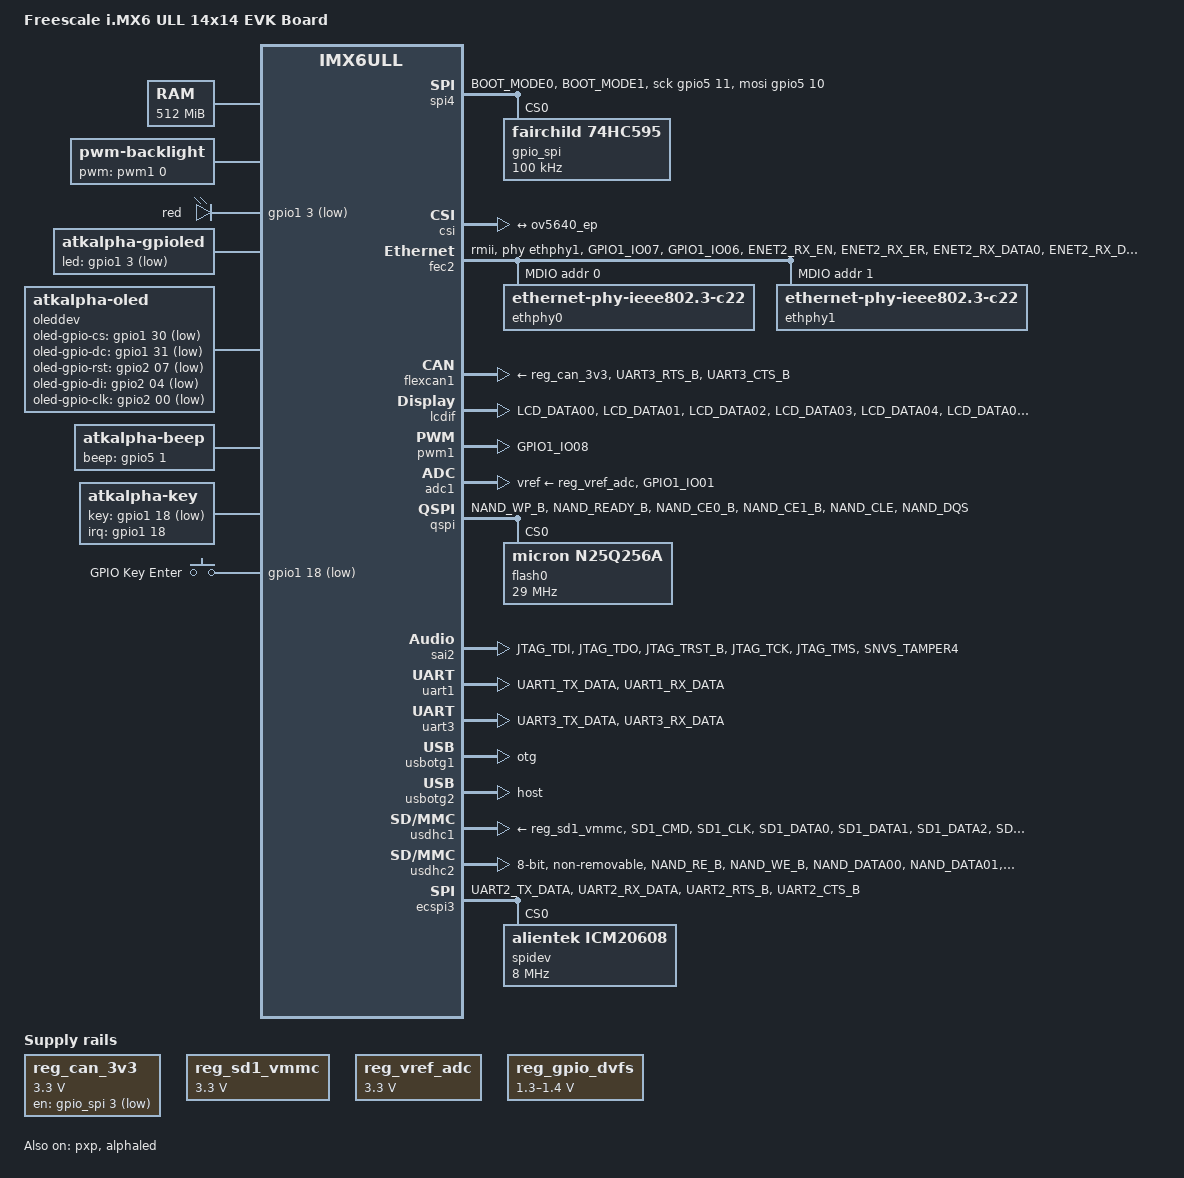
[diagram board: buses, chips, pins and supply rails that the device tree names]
/*
 * Copyright (C) 2016 Freescale Semiconductor, Inc.
 *
 * This program is free software; you can redistribute it and/or modify
 * it under the terms of the GNU General Public License version 2 as
 * published by the Free Software Foundation.
 */

/dts-v1/;

#include <dt-bindings/input/input.h>
#include "imx6ull.dtsi"

/ {
	model = "Freescale i.MX6 ULL 14x14 EVK Board";
	compatible = "fsl,imx6ull-14x14-evk", "fsl,imx6ull";

	chosen {
		stdout-path = &uart1;
	};

	memory {
		reg = <0x80000000 0x20000000>;
	};

	reserved-memory {
		#address-cells = <1>;
		#size-cells = <1>;
		ranges;

		linux,cma {
			compatible = "shared-dma-pool";
			reusable;
			size = <0x14000000>;
			linux,cma-default;
		};
	};

	backlight {
		compatible = "pwm-backlight";
		pwms = <&pwm1 0 5000000>;
		brightness-levels = <0 4 8 16 32 64 128 255>;
		default-brightness-level = <7>;
		status = "okay";
	};

	pxp_v4l2 {
		compatible = "fsl,imx6ul-pxp-v4l2", "fsl,imx6sx-pxp-v4l2", "fsl,imx6sl-pxp-v4l2";
		status = "okay";
	};

	regulators {
		compatible = "simple-bus";
		#address-cells = <1>;
		#size-cells = <0>;

		reg_can_3v3: regulator@0 {
			compatible = "regulator-fixed";
			reg = <0>;
			regulator-name = "can-3v3";
			regulator-min-microvolt = <3300000>;
			regulator-max-microvolt = <3300000>;
			gpios = <&gpio_spi 3 GPIO_ACTIVE_LOW>;
		};

		reg_sd1_vmmc: regulator@1 {
			compatible = "regulator-fixed";
			regulator-name = "VSD_3V3";
			regulator-min-microvolt = <3300000>;
			regulator-max-microvolt = <3300000>;
			//gpio = <&gpio1 9 GPIO_ACTIVE_HIGH>;
			enable-active-high;
		};

		/* zuozhongkai ADC vref 3.3V */
		reg_vref_adc: regulator@2 {
			compatible = "regulator-fixed";
			regulator-name = "VREF_3V3";
			regulator-min-microvolt = <3300000>;
			regulator-max-microvolt = <3300000>;
		};

		reg_gpio_dvfs: regulator-gpio {
			compatible = "regulator-gpio";
			pinctrl-names = "default";
			pinctrl-0 = <&pinctrl_dvfs>;
			regulator-min-microvolt = <1300000>;
			regulator-max-microvolt = <1400000>;
			regulator-name = "gpio_dvfs";
			regulator-type = "voltage";
			gpios = <&gpio5 3 GPIO_ACTIVE_HIGH>;
			states = <1300000 0x1 1400000 0x0>;
		};
	};

	sound {
		compatible = "fsl,imx6ul-evk-wm8960",
			   "fsl,imx-audio-wm8960";
		model = "wm8960-audio";
		cpu-dai = <&sai2>;
		audio-codec = <&codec>;
		asrc-controller = <&asrc>;
		codec-master;
		gpr = <&gpr 4 0x100000 0x100000>;
		/*
                 * hp-det = <hp-det-pin hp-det-polarity>;
		 * hp-det-pin: JD1 JD2  or JD3
		 * hp-det-polarity = 0: hp detect high for headphone
		 * hp-det-polarity = 1: hp detect high for speaker
		 */
		hp-det = <3 0>;
		/*hp-det-gpios = <&gpio5 4 0>;
		mic-det-gpios = <&gpio5 4 0>;*/
		audio-routing =
			"Headphone Jack", "HP_L",
			"Headphone Jack", "HP_R",
			"Ext Spk", "SPK_LP",
			"Ext Spk", "SPK_LN",
			"Ext Spk", "SPK_RP",
			"Ext Spk", "SPK_RN",
			"LINPUT2", "Mic Jack",
			"LINPUT3", "Mic Jack",
			"RINPUT1", "Main MIC",
			"RINPUT2", "Main MIC",
			"Mic Jack", "MICB",
			"Main MIC", "MICB",
			"CPU-Playback", "ASRC-Playback",
			"Playback", "CPU-Playback",
			"ASRC-Capture", "CPU-Capture",
			"CPU-Capture", "Capture";
	};

	spi4 {
		compatible = "spi-gpio";
		pinctrl-names = "default";
		pinctrl-0 = <&pinctrl_spi4>;
		/* pinctrl-assert-gpios = <&gpio5 8 GPIO_ACTIVE_LOW>; */
		status = "okay";
		gpio-sck = <&gpio5 11 0>;
		gpio-mosi = <&gpio5 10 0>;
		/* cs-gpios = <&gpio5 7 0>;*/
		num-chipselects = <1>;
		#address-cells = <1>;
		#size-cells = <0>;

		gpio_spi: gpio_spi@0 {
			compatible = "fairchild,74hc595";
			gpio-controller;
			#gpio-cells = <2>;
			reg = <0>;
			registers-number = <1>;
			registers-default = /bits/ 8 <0x57>;
			spi-max-frequency = <100000>;
		};
	};
	
	/* zuozhongkai dts leds linux自带led驱动的设备树*/
    dtsleds {
        compatible = "gpio-leds";
 
        led0 {
            label = "red";
            gpios = <&gpio1 3 GPIO_ACTIVE_LOW>;
            linux,default-trigger = "heartbeat";
            default-state = "on";
        };
    };

	/* zuozhongkai */
	alphaled {
		#address-cells = <1>;
		#size-cells = <1>;
		compatible = "atkalpha-led";
		status = "okay";
		reg = < 0X020C406C 0X04		/* CCM_CCGR1_BAE 			*/
				0X020E0068 0X04		/* SW_MUX_GPIO1_IO03_BASE 	*/
				0X020E02F4 0X04		/* SW_PAD_GPIO1_IO03_BASE	*/
				0X0209C000 0X04		/* GPIO1_DR_BASE 			*/
				0X0209C004 0X04>;	/* GPIO1_GDIR_BASE 			*/
	};

	gpioled {
		#address-cells = <1>;
		#size-cells = <1>;
		compatible = "atkalpha-gpioled";
		pinctrl-names = "default";
		pinctrl-0 = <&pinctrl_led>;
		led-gpio = <&gpio1 3 GPIO_ACTIVE_LOW>;
		status = "okay";
	};

	oleddev {
		#address-cells = <1>;
		#size-cells = <1>;
		compatible = "atkalpha-oled";
		pinctrl-names= "default";
		pinctrl-0 = <&pinctrl_oled>;
		oled-gpio-cs  = <&gpio1 30 GPIO_ACTIVE_LOW>;
		oled-gpio-dc  = <&gpio1 31 GPIO_ACTIVE_LOW>;
		oled-gpio-rst = <&gpio2 07 GPIO_ACTIVE_LOW>;
		oled-gpio-di  = <&gpio2 04 GPIO_ACTIVE_LOW>;
		oled-gpio-clk = <&gpio2 00 GPIO_ACTIVE_LOW>;
		status = "okay";
	};

	beep {
		#address-cells = <1>;
		#size-cells = <1>;
		compatible = "atkalpha-beep";
		pinctrl-names = "default";
		pinctrl-0 = <&pinctrl_beep>;
		beep-gpio = <&gpio5 1 GPIO_ACTIVE_HIGH>;
		status = "okay";
	};

	key {
		#address-cells = <1>;
		#size-cells = <1>;
		compatible = "atkalpha-key";
		pinctrl-names = "default";
		pinctrl-0 = <&pinctrl_key>;
		key-gpio = <&gpio1 18 GPIO_ACTIVE_LOW>; /* KEY0 */
		interrupt-parent = <&gpio1>;
		interrupts = <18 IRQ_TYPE_EDGE_BOTH>; /* FALLING RISING */
		status = "okay";
	};

	/* zuozhongkai dts keys linux自带的key驱动设备树 */
	gpio-keys {
		compatible = "gpio-keys";
		#address-cells = <1>;
		#size-cells = <0>;
		autorepeat;
		key0 {
			label = "GPIO Key Enter";
			linux,code = <KEY_ENTER>;
			gpios = <&gpio1 18 GPIO_ACTIVE_LOW>;
		};
	};

	/* zuozhongkai sii902x reset */
	sii902x_reset: sii902x-reset {
        compatible = "gpio-reset";
        reset-gpios = <&gpio5 9 GPIO_ACTIVE_LOW>;
    	reset-delay-us = <100000>;
        #reset-cells = <0>;
        status = "disabled";
    };
};

&cpu0 {
	arm-supply = <&reg_arm>;
	soc-supply = <&reg_soc>;
	dc-supply = <&reg_gpio_dvfs>;
};

&clks {
	assigned-clocks = <&clks IMX6UL_CLK_PLL4_AUDIO_DIV>;
	assigned-clock-rates = <786432000>;
};

&csi {
	status = "okay";

	port {
		csi1_ep: endpoint {
			remote-endpoint = <&ov5640_ep>;
		};
	};
};

&fec1 {
	pinctrl-names = "default";
	pinctrl-0 = <&pinctrl_enet1
			&pinctrl_enet1_reset>;
	phy-mode = "rmii";
	phy-handle = <&ethphy0>;
	phy-reset-gpios = <&gpio5 7 GPIO_ACTIVE_LOW>;
    phy-reset-duration = <200>;
	status = "disabled";
};

&fec2 {
	pinctrl-names = "default";
	pinctrl-0 = <&pinctrl_enet2
				&pinctrl_enet2_reset>;
	phy-mode = "rmii";
	phy-handle = <&ethphy1>;
	phy-reset-gpios = <&gpio5 8 GPIO_ACTIVE_LOW>;
    phy-reset-duration = <200>;
	status = "okay";

	mdio {
		#address-cells = <1>;
		#size-cells = <0>;

		ethphy0: ethernet-phy@0 {
            compatible = "ethernet-phy-ieee802.3-c22";
            reg = <0>;
         };
 
        ethphy1: ethernet-phy@1 {
        	compatible = "ethernet-phy-ieee802.3-c22";
        	reg = <1>;
		};
	};
};

&flexcan1 {
	pinctrl-names = "default";
	pinctrl-0 = <&pinctrl_flexcan1>;
	xceiver-supply = <&reg_can_3v3>;
	status = "okay";
};

/*
&flexcan2 {
	pinctrl-names = "default";
	pinctrl-0 = <&pinctrl_flexcan2>;
	xceiver-supply = <&reg_can_3v3>;
	status = "okay";
};
*/

&gpc {
	fsl,cpu_pupscr_sw2iso = <0x1>;
	fsl,cpu_pupscr_sw = <0x0>;
	fsl,cpu_pdnscr_iso2sw = <0x1>;
	fsl,cpu_pdnscr_iso = <0x1>;
	fsl,ldo-bypass = <0>; /* DCDC, ldo-enable */
};

&i2c1 {
	clock-frequency = <100000>;
	pinctrl-names = "default";
	pinctrl-0 = <&pinctrl_i2c1>;
	status = "disabled";

	ap3216c@1e {
		compatible = "alientek,ap3216c";
		reg = <0x1e>;
	};
};

&i2c2 {
	clock_frequency = <100000>;
	pinctrl-names = "default";
	pinctrl-0 = <&pinctrl_i2c2>;
	status = "disabled";

	codec: wm8960@1a {
		compatible = "wlf,wm8960";
		reg = <0x1a>;
		clocks = <&clks IMX6UL_CLK_SAI2>;
		clock-names = "mclk";
		wlf,shared-lrclk;
	};

	ov5640: ov5640@3c {
		compatible = "ovti,ov5640";
		reg = <0x3c>;
		pinctrl-names = "default";
		pinctrl-0 = <&pinctrl_csi1>;
		clocks = <&clks IMX6UL_CLK_CSI>;
		clock-names = "csi_mclk";
		pwn-gpios = <&gpio_spi 6 1>;
		rst-gpios = <&gpio_spi 5 0>;
		csi_id = <0>;
		mclk = <24000000>;
		mclk_source = <0>;
		status = "okay";
		port {
			ov5640_ep: endpoint {
				remote-endpoint = <&csi1_ep>;
			};
		};
	};

	/* zuozhongkai FT5406/FT5426 */
	ft5426: ft5426@38 {
		compatible = "edt,edt-ft5426","edt,edt-ft5406";
		reg = <0x38>;
		pinctrl-names = "default";
		pinctrl-0 = <&pinctrl_tsc
					&pinctrl_tsc_reset >; 
		interrupt-parent = <&gpio1>; 
		interrupts = <9 0>; 
		reset-gpios = <&gpio5 9 GPIO_ACTIVE_LOW>;  
		interrupt-gpios = <&gpio1 9 GPIO_ACTIVE_LOW>;
		status = "okay";
	};

	gt9147:gt9147@14 {
		compatible = "goodix,gt9147", "goodix,gt9xx";
		reg = <0x14>;
		pinctrl-names = "default";
		pinctrl-0 = <&pinctrl_tsc
					&pinctrl_tsc_reset >; 
		interrupt-parent = <&gpio1>; 
		interrupts = <9 0>; 
		reset-gpios  = <&gpio5 9 GPIO_ACTIVE_LOW>;
		interrupt-gpios = <&gpio1 9 GPIO_ACTIVE_LOW>;
		status = "disable";  /* 如果需要改为okay */
	};

	/* zuozhongkai sill902x,如果需要HDMI就将status改为okay即可  */
	/*
	sii902x: sii902x@39 {
        compatible = "SiI,sii902x";
        pinctrl-names = "default";
        pinctrl-0 = <&pinctrl_sii902x>;
        interrupt-parent = <&gpio1>;
        interrupts = <9 IRQ_TYPE_EDGE_FALLING>;
		irq-gpios = <&gpio1 9 GPIO_ACTIVE_LOW>;
        mode_str = "1280x720M@60";
        bits-per-pixel = <16>;
        resets = <&sii902x_reset>;
        reg = <0x39>;
        status = "disable"; 
    };*/
};

&iomuxc {
	pinctrl-names = "default";
	pinctrl-0 = <&pinctrl_hog_1>;
	imx6ul-evk {
		pinctrl_hog_1: hoggrp-1 {
			fsl,pins = <
				MX6UL_PAD_UART1_RTS_B__GPIO1_IO19	0x17059 /* SD1 CD */
				MX6UL_PAD_GPIO1_IO05__USDHC1_VSELECT	0x17059 /* SD1 VSELECT */
				/* MX6UL_PAD_GPIO1_IO09__GPIO1_IO09        0x17059 SD1 RESET */
				MX6UL_PAD_GPIO1_IO00__ANATOP_OTG1_ID	0x13058	/* USB_OTG1_ID */
			>;
		};
        /* zuozhongkai LED */
        pinctrl_led: ledgrp {
            fsl,pins = <
            	MX6UL_PAD_GPIO1_IO03__GPIO1_IO03        0x10B0 /* LED0 */
            >;
        };
		
		/* hah OLED*/
		pinctrl_oled: oledgrp {
			fsl,pins = <
				MX6UL_PAD_UART5_TX_DATA__GPIO1_IO30		0x10B0 /* CS  */
				MX6UL_PAD_UART5_RX_DATA__GPIO1_IO31		0x10B0 /* DC  */
				MX6UL_PAD_ENET1_RX_ER__GPIO2_IO07		0x10B0 /* RST */
				MX6UL_PAD_ENET1_TX_DATA1__GPIO2_IO04		0x10B0 /* DI  */
				MX6UL_PAD_ENET1_RX_DATA0__GPIO2_IO00		0x10B0 /* CLK */
			>;
		};
		
		/* zuozhongkai BEEP */
		pinctrl_beep: beepgrp {
			fsl,pins = <
				MX6ULL_PAD_SNVS_TAMPER1__GPIO5_IO01 	0x10B0 /* beep */	
			>;
		};

		/* zuozhongkai KEY */
		pinctrl_key: keygrp {
			fsl,pins = <
				MX6UL_PAD_UART1_CTS_B__GPIO1_IO18		0xF080	/* KEY0 */
			>;
		};		

		/* zuozhongkai ECSPI */
		pinctrl_ecspi3: icm20608 {
			fsl,pins = < 
				MX6UL_PAD_UART2_TX_DATA__GPIO1_IO20		0x10b0	/* CS */
				MX6UL_PAD_UART2_RX_DATA__ECSPI3_SCLK	0x10b1	/* SCLK */
				MX6UL_PAD_UART2_RTS_B__ECSPI3_MISO		0x10b1	/* MISO */
				MX6UL_PAD_UART2_CTS_B__ECSPI3_MOSI		0x10b1	/* MOSI */
			>;
		};

		/* zuozhongkai HDMI RGB */
		pinctrl_hdmi_dat: hdmidatgrp {
			/* do not change the pimux vlaue on alpaha and mini board*/
            fsl,pins = <
                MX6UL_PAD_LCD_DATA00__LCDIF_DATA00  0x49
                MX6UL_PAD_LCD_DATA01__LCDIF_DATA01  0x49
                MX6UL_PAD_LCD_DATA02__LCDIF_DATA02  0x49
                MX6UL_PAD_LCD_DATA03__LCDIF_DATA03  0x49
                MX6UL_PAD_LCD_DATA04__LCDIF_DATA04  0x49
                MX6UL_PAD_LCD_DATA05__LCDIF_DATA05  0x49
                MX6UL_PAD_LCD_DATA06__LCDIF_DATA06  0x49
                MX6UL_PAD_LCD_DATA07__LCDIF_DATA07  0x49
                MX6UL_PAD_LCD_DATA08__LCDIF_DATA08  0x49
                MX6UL_PAD_LCD_DATA09__LCDIF_DATA09  0x49
                MX6UL_PAD_LCD_DATA10__LCDIF_DATA10  0x49
                MX6UL_PAD_LCD_DATA11__LCDIF_DATA11  0x49
                MX6UL_PAD_LCD_DATA12__LCDIF_DATA12  0x49
                MX6UL_PAD_LCD_DATA13__LCDIF_DATA13  0x49
                MX6UL_PAD_LCD_DATA14__LCDIF_DATA14  0x49
                MX6UL_PAD_LCD_DATA15__LCDIF_DATA15  0x51
                MX6UL_PAD_LCD_DATA16__LCDIF_DATA16  0x49
                MX6UL_PAD_LCD_DATA17__LCDIF_DATA17  0x49
                MX6UL_PAD_LCD_DATA18__LCDIF_DATA18  0x49
                MX6UL_PAD_LCD_DATA19__LCDIF_DATA19  0x49
                MX6UL_PAD_LCD_DATA20__LCDIF_DATA20  0x49
                MX6UL_PAD_LCD_DATA21__LCDIF_DATA21  0x49
                MX6UL_PAD_LCD_DATA22__LCDIF_DATA22  0x49
                MX6UL_PAD_LCD_DATA23__LCDIF_DATA23  0x49
            >;
        };

		/* zuozhongkai HDMI RGB */
        pinctrl_hdmi_ctrl: hdmictrlgrp {
            fsl,pins = <
                MX6UL_PAD_LCD_CLK__LCDIF_CLK        0x49
                MX6UL_PAD_LCD_ENABLE__LCDIF_ENABLE  0x49
                MX6UL_PAD_LCD_HSYNC__LCDIF_HSYNC    0x49
                MX6UL_PAD_LCD_VSYNC__LCDIF_VSYNC    0x49
            >;
        };

		/* zuozhongkai SII902X  INT*/
        pinctrl_sii902x: hdmigrp-1 {
            fsl,pins = <
                MX6UL_PAD_GPIO1_IO09__GPIO1_IO09        0x11
            >;
        };

		/* zuozhongkai PWM3 GPIO1_IO04 */
		pinctrl_pwm3: pwm3grp {
			fsl,pins = <
				MX6UL_PAD_GPIO1_IO04__PWM3_OUT   0x110b0
			>;
		};

		/* zuozhongkai ADC1_CH1 GPIO1_IO01 */
		pinctrl_adc1: adc1grp {
			fsl,pins = <
				MX6UL_PAD_GPIO1_IO01__GPIO1_IO01   0xb0
			>;
		};

		pinctrl_csi1: csi1grp {
			fsl,pins = <
				MX6UL_PAD_CSI_MCLK__CSI_MCLK		0x1b088
				MX6UL_PAD_CSI_PIXCLK__CSI_PIXCLK	0x1b088
				MX6UL_PAD_CSI_VSYNC__CSI_VSYNC		0x1b088
				MX6UL_PAD_CSI_HSYNC__CSI_HSYNC		0x1b088
				MX6UL_PAD_CSI_DATA00__CSI_DATA02	0x1b088
				MX6UL_PAD_CSI_DATA01__CSI_DATA03	0x1b088
				MX6UL_PAD_CSI_DATA02__CSI_DATA04	0x1b088
				MX6UL_PAD_CSI_DATA03__CSI_DATA05	0x1b088
				MX6UL_PAD_CSI_DATA04__CSI_DATA06	0x1b088
				MX6UL_PAD_CSI_DATA05__CSI_DATA07	0x1b088
				MX6UL_PAD_CSI_DATA06__CSI_DATA08	0x1b088
				MX6UL_PAD_CSI_DATA07__CSI_DATA09	0x1b088
			>;
		};

		pinctrl_enet1: enet1grp {
			fsl,pins = <
				MX6UL_PAD_ENET1_RX_EN__ENET1_RX_EN	0x1b0b0
				MX6UL_PAD_ENET1_RX_ER__ENET1_RX_ER	0x1b0b0
				MX6UL_PAD_ENET1_RX_DATA0__ENET1_RDATA00	0x1b0b0
				MX6UL_PAD_ENET1_RX_DATA1__ENET1_RDATA01	0x1b0b0
				MX6UL_PAD_ENET1_TX_EN__ENET1_TX_EN	0x1b0b0
				MX6UL_PAD_ENET1_TX_DATA0__ENET1_TDATA00	0x1b0b0
				MX6UL_PAD_ENET1_TX_DATA1__ENET1_TDATA01	0x1b0b0
				MX6UL_PAD_ENET1_TX_CLK__ENET1_REF_CLK1	0x4001b009
			>;
		};

		pinctrl_enet2: enet2grp {
			fsl,pins = <
				MX6UL_PAD_GPIO1_IO07__ENET2_MDC		0x1b0b0
				MX6UL_PAD_GPIO1_IO06__ENET2_MDIO	0x1b0b0
				MX6UL_PAD_ENET2_RX_EN__ENET2_RX_EN	0x1b0b0
				MX6UL_PAD_ENET2_RX_ER__ENET2_RX_ER	0x1b0b0
				MX6UL_PAD_ENET2_RX_DATA0__ENET2_RDATA00	0x1b0b0
				MX6UL_PAD_ENET2_RX_DATA1__ENET2_RDATA01	0x1b0b0
				MX6UL_PAD_ENET2_TX_EN__ENET2_TX_EN	0x1b0b0
				MX6UL_PAD_ENET2_TX_DATA0__ENET2_TDATA00	0x1b0b0
				MX6UL_PAD_ENET2_TX_DATA1__ENET2_TDATA01	0x1b0b0
				MX6UL_PAD_ENET2_TX_CLK__ENET2_REF_CLK2	0x4001b009
			>;
		};

		pinctrl_flexcan1: flexcan1grp{
			fsl,pins = <
				MX6UL_PAD_UART3_RTS_B__FLEXCAN1_RX	0x1b020
				MX6UL_PAD_UART3_CTS_B__FLEXCAN1_TX	0x1b020
			>;
		};

		pinctrl_flexcan2: flexcan2grp{
			fsl,pins = <
				/* MX6UL_PAD_UART2_RTS_B__FLEXCAN2_RX	0x1b020 */
				/* MX6UL_PAD_UART2_CTS_B__FLEXCAN2_TX	0x1b020 */
			>;
		};

		pinctrl_i2c1: i2c1grp {
			fsl,pins = <
				MX6UL_PAD_UART4_TX_DATA__I2C1_SCL 0x4001b8b0
				MX6UL_PAD_UART4_RX_DATA__I2C1_SDA 0x4001b8b0
			>;
		};

		pinctrl_i2c2: i2c2grp {
			fsl,pins = <
				MX6UL_PAD_UART5_TX_DATA__I2C2_SCL 0x4001b8b0
				MX6UL_PAD_UART5_RX_DATA__I2C2_SDA 0x4001b8b0
			>;
		};

		pinctrl_lcdif_dat: lcdifdatgrp {
			fsl,pins = <
				MX6UL_PAD_LCD_DATA00__LCDIF_DATA00  0x79
				MX6UL_PAD_LCD_DATA01__LCDIF_DATA01  0x79
				MX6UL_PAD_LCD_DATA02__LCDIF_DATA02  0x79
				MX6UL_PAD_LCD_DATA03__LCDIF_DATA03  0x79
				MX6UL_PAD_LCD_DATA04__LCDIF_DATA04  0x79
				MX6UL_PAD_LCD_DATA05__LCDIF_DATA05  0x79
				MX6UL_PAD_LCD_DATA06__LCDIF_DATA06  0x79
				MX6UL_PAD_LCD_DATA07__LCDIF_DATA07  0x79
				MX6UL_PAD_LCD_DATA08__LCDIF_DATA08  0x79
				MX6UL_PAD_LCD_DATA09__LCDIF_DATA09  0x79
				MX6UL_PAD_LCD_DATA10__LCDIF_DATA10  0x79
				MX6UL_PAD_LCD_DATA11__LCDIF_DATA11  0x79
				MX6UL_PAD_LCD_DATA12__LCDIF_DATA12  0x79
				MX6UL_PAD_LCD_DATA13__LCDIF_DATA13  0x79
				MX6UL_PAD_LCD_DATA14__LCDIF_DATA14  0x79
				MX6UL_PAD_LCD_DATA15__LCDIF_DATA15  0x79
				MX6UL_PAD_LCD_DATA16__LCDIF_DATA16  0x79
				MX6UL_PAD_LCD_DATA17__LCDIF_DATA17  0x79
				MX6UL_PAD_LCD_DATA18__LCDIF_DATA18  0x79
				MX6UL_PAD_LCD_DATA19__LCDIF_DATA19  0x79
				MX6UL_PAD_LCD_DATA20__LCDIF_DATA20  0x79
				MX6UL_PAD_LCD_DATA21__LCDIF_DATA21  0x79
				MX6UL_PAD_LCD_DATA22__LCDIF_DATA22  0x79
				MX6UL_PAD_LCD_DATA23__LCDIF_DATA23  0x79
			>;
		};

		pinctrl_lcdif_ctrl: lcdifctrlgrp {
			fsl,pins = <
				MX6UL_PAD_LCD_CLK__LCDIF_CLK	    0x79
				MX6UL_PAD_LCD_ENABLE__LCDIF_ENABLE  0x79
				MX6UL_PAD_LCD_HSYNC__LCDIF_HSYNC    0x79
				MX6UL_PAD_LCD_VSYNC__LCDIF_VSYNC    0x79
			>;
		};

		pinctrl_pwm1: pwm1grp {
			fsl,pins = <
				MX6UL_PAD_GPIO1_IO08__PWM1_OUT   0x110b0
			>;
		};

		pinctrl_qspi: qspigrp {
			fsl,pins = <
				MX6UL_PAD_NAND_WP_B__QSPI_A_SCLK      0x70a1
				MX6UL_PAD_NAND_READY_B__QSPI_A_DATA00 0x70a1
				MX6UL_PAD_NAND_CE0_B__QSPI_A_DATA01   0x70a1
				MX6UL_PAD_NAND_CE1_B__QSPI_A_DATA02   0x70a1
				MX6UL_PAD_NAND_CLE__QSPI_A_DATA03     0x70a1
				MX6UL_PAD_NAND_DQS__QSPI_A_SS0_B      0x70a1
			>;
		};

		pinctrl_sai2: sai2grp {
			fsl,pins = <
				MX6UL_PAD_JTAG_TDI__SAI2_TX_BCLK	0x17088
				MX6UL_PAD_JTAG_TDO__SAI2_TX_SYNC	0x17088
				MX6UL_PAD_JTAG_TRST_B__SAI2_TX_DATA	0x11088
				MX6UL_PAD_JTAG_TCK__SAI2_RX_DATA	0x11088
				MX6UL_PAD_JTAG_TMS__SAI2_MCLK		0x17088
			>;
		};

		pinctrl_tsc: tscgrp {
			fsl,pins = <
				/* 7寸RGB屏幕，FT5426 */
				MX6UL_PAD_GPIO1_IO09__GPIO1_IO09	0xF080 		/* TSC_INT */

				/* 7寸RGB屏幕,GT9147 */
				/* MX6UL_PAD_GPIO1_IO09__GPIO1_IO09	0x10B0 	*/	/* TSC_INT */
			
			>;
		};

		pinctrl_uart1: uart1grp {
			fsl,pins = <
				MX6UL_PAD_UART1_TX_DATA__UART1_DCE_TX 0x1b0b1
				MX6UL_PAD_UART1_RX_DATA__UART1_DCE_RX 0x1b0b1
			>;
		};

		pinctrl_uart2: uart2grp {
			fsl,pins = <
				/* MX6UL_PAD_UART2_TX_DATA__UART2_DCE_TX	0x1b0b1 */
				/* MX6UL_PAD_UART2_RX_DATA__UART2_DCE_RX	0x1b0b1 */
				MX6UL_PAD_UART3_RX_DATA__UART2_DCE_RTS	0x1b0b1
				MX6UL_PAD_UART3_TX_DATA__UART2_DCE_CTS	0x1b0b1
			>;
		};

		pinctrl_uart2dte: uart2dtegrp {
			fsl,pins = <
				/* MX6UL_PAD_UART2_TX_DATA__UART2_DTE_RX	0x1b0b1 */
				/* MX6UL_PAD_UART2_RX_DATA__UART2_DTE_TX	0x1b0b1 */
				/* MX6UL_PAD_UART3_RX_DATA__UART2_DTE_CTS	0x1b0b1 */
				/* MX6UL_PAD_UART3_TX_DATA__UART2_DTE_RTS	0x1b0b1 */
			>; 
		};
	
		/* zuozhongkai */
		pinctrl_uart3: uart3grp {
			fsl,pins = <
				MX6UL_PAD_UART3_TX_DATA__UART3_DCE_TX		0X1b0b1
				MX6UL_PAD_UART3_RX_DATA__UART3_DCE_RX		0X1b0b1
			>;
		};

		pinctrl_usdhc1: usdhc1grp {
			fsl,pins = <
				MX6UL_PAD_SD1_CMD__USDHC1_CMD     0x17059
				MX6UL_PAD_SD1_CLK__USDHC1_CLK     0x100f1
				MX6UL_PAD_SD1_DATA0__USDHC1_DATA0 0x17059
				MX6UL_PAD_SD1_DATA1__USDHC1_DATA1 0x17059
				MX6UL_PAD_SD1_DATA2__USDHC1_DATA2 0x17059
				MX6UL_PAD_SD1_DATA3__USDHC1_DATA3 0x17059
			>;
		};

		pinctrl_usdhc1_100mhz: usdhc1grp100mhz {
			fsl,pins = <
				MX6UL_PAD_SD1_CMD__USDHC1_CMD     0x170b9
				MX6UL_PAD_SD1_CLK__USDHC1_CLK     0x100f1
				MX6UL_PAD_SD1_DATA0__USDHC1_DATA0 0x170b9
				MX6UL_PAD_SD1_DATA1__USDHC1_DATA1 0x170b9
				MX6UL_PAD_SD1_DATA2__USDHC1_DATA2 0x170b9
				MX6UL_PAD_SD1_DATA3__USDHC1_DATA3 0x170b9
			>;
		};

		pinctrl_usdhc1_200mhz: usdhc1grp200mhz {
			fsl,pins = <
				MX6UL_PAD_SD1_CMD__USDHC1_CMD     0x170f9
				MX6UL_PAD_SD1_CLK__USDHC1_CLK     0x100f1
				MX6UL_PAD_SD1_DATA0__USDHC1_DATA0 0x170f9
				MX6UL_PAD_SD1_DATA1__USDHC1_DATA1 0x170f9
				MX6UL_PAD_SD1_DATA2__USDHC1_DATA2 0x170f9
				MX6UL_PAD_SD1_DATA3__USDHC1_DATA3 0x170f9
			>;
		};

		pinctrl_usdhc2: usdhc2grp {
			fsl,pins = <
				MX6UL_PAD_NAND_RE_B__USDHC2_CLK     0x10069
				MX6UL_PAD_NAND_WE_B__USDHC2_CMD     0x17059
				MX6UL_PAD_NAND_DATA00__USDHC2_DATA0 0x17059
				MX6UL_PAD_NAND_DATA01__USDHC2_DATA1 0x17059
				MX6UL_PAD_NAND_DATA02__USDHC2_DATA2 0x17059
				MX6UL_PAD_NAND_DATA03__USDHC2_DATA3 0x17059
			>;
		};

		pinctrl_usdhc2_8bit: usdhc2grp_8bit {
			fsl,pins = <
				MX6UL_PAD_NAND_RE_B__USDHC2_CLK     0x10069
				MX6UL_PAD_NAND_WE_B__USDHC2_CMD     0x17059
				MX6UL_PAD_NAND_DATA00__USDHC2_DATA0 0x17059
				MX6UL_PAD_NAND_DATA01__USDHC2_DATA1 0x17059
				MX6UL_PAD_NAND_DATA02__USDHC2_DATA2 0x17059
				MX6UL_PAD_NAND_DATA03__USDHC2_DATA3 0x17059
				MX6UL_PAD_NAND_DATA04__USDHC2_DATA4 0x17059
				MX6UL_PAD_NAND_DATA05__USDHC2_DATA5 0x17059
				MX6UL_PAD_NAND_DATA06__USDHC2_DATA6 0x17059
				MX6UL_PAD_NAND_DATA07__USDHC2_DATA7 0x17059
			>;
		};

		pinctrl_usdhc2_8bit_100mhz: usdhc2grp_8bit_100mhz {
			fsl,pins = <
				MX6UL_PAD_NAND_RE_B__USDHC2_CLK     0x100b9
				MX6UL_PAD_NAND_WE_B__USDHC2_CMD     0x170b9
				MX6UL_PAD_NAND_DATA00__USDHC2_DATA0 0x170b9
				MX6UL_PAD_NAND_DATA01__USDHC2_DATA1 0x170b9
				MX6UL_PAD_NAND_DATA02__USDHC2_DATA2 0x170b9
				MX6UL_PAD_NAND_DATA03__USDHC2_DATA3 0x170b9
				MX6UL_PAD_NAND_DATA04__USDHC2_DATA4 0x170b9
				MX6UL_PAD_NAND_DATA05__USDHC2_DATA5 0x170b9
				MX6UL_PAD_NAND_DATA06__USDHC2_DATA6 0x170b9
				MX6UL_PAD_NAND_DATA07__USDHC2_DATA7 0x170b9
			>;
		};

		pinctrl_usdhc2_8bit_200mhz: usdhc2grp_8bit_200mhz {
			fsl,pins = <
				MX6UL_PAD_NAND_RE_B__USDHC2_CLK     0x100f9
				MX6UL_PAD_NAND_WE_B__USDHC2_CMD     0x170f9
				MX6UL_PAD_NAND_DATA00__USDHC2_DATA0 0x170f9
				MX6UL_PAD_NAND_DATA01__USDHC2_DATA1 0x170f9
				MX6UL_PAD_NAND_DATA02__USDHC2_DATA2 0x170f9
				MX6UL_PAD_NAND_DATA03__USDHC2_DATA3 0x170f9
				MX6UL_PAD_NAND_DATA04__USDHC2_DATA4 0x170f9
				MX6UL_PAD_NAND_DATA05__USDHC2_DATA5 0x170f9
				MX6UL_PAD_NAND_DATA06__USDHC2_DATA6 0x170f9
				MX6UL_PAD_NAND_DATA07__USDHC2_DATA7 0x170f9
			>;
		};

		pinctrl_wdog: wdoggrp {
			fsl,pins = <
				MX6UL_PAD_LCD_RESET__WDOG1_WDOG_ANY    0x30b0
			>;
		};
	};
};

&iomuxc_snvs {
	pinctrl-names = "default_snvs";
        pinctrl-0 = <&pinctrl_hog_2>;
        imx6ul-evk {

		/* zuozhongkai Touch RESET */
		pinctrl_tsc_reset: tsc_reset {
			fsl,pins = <
                        	 	MX6ULL_PAD_SNVS_TAMPER9__GPIO5_IO09 0x10B0
                        >;
        };

		/* zuozhongkai RGB RESET */
		ts_reset_hdmi_pin: ts_reset_hdmi_mux {
			fsl,pins = <
                        	 	MX6ULL_PAD_SNVS_TAMPER9__GPIO5_IO09 0x49
                        >;
        };

		pinctrl_hog_2: hoggrp-2 {
                        fsl,pins = <
                                MX6ULL_PAD_SNVS_TAMPER0__GPIO5_IO00      0x80000000
                        >;
                };

		pinctrl_dvfs: dvfsgrp {
                        fsl,pins = <
                                MX6ULL_PAD_SNVS_TAMPER3__GPIO5_IO03      0x79
                        >;
                };
		
		pinctrl_lcdif_reset: lcdifresetgrp {
                        fsl,pins = <
                                /* used for lcd reset */
                                /* MX6ULL_PAD_SNVS_TAMPER9__GPIO5_IO09  0x79 */
                        >;
                };

		pinctrl_spi4: spi4grp {
                        fsl,pins = <
                                MX6ULL_PAD_BOOT_MODE0__GPIO5_IO10        0x70a1
                                MX6ULL_PAD_BOOT_MODE1__GPIO5_IO11        0x70a1
                        >;
                };

        pinctrl_sai2_hp_det_b: sai2_hp_det_grp {
                        fsl,pins = <
                                MX6ULL_PAD_SNVS_TAMPER4__GPIO5_IO04   0x17059
                        >;
                };

		/*enet1 reset zuozhongkai*/
		pinctrl_enet1_reset: enet1resetgrp {
                    	fsl,pins = <
                            	/* used for enet1  reset */
                            	MX6ULL_PAD_SNVS_TAMPER7__GPIO5_IO07      0x10B0      /* ENET1 RESET */
                    	>;
        		};

		/*enet2 reset zuozhongkai*/
		pinctrl_enet2_reset: enet2resetgrp {
                    	fsl,pins = <
                            	/* used for enet2  reset */
                            	MX6ULL_PAD_SNVS_TAMPER8__GPIO5_IO08      0x10B0     /* ENET2 RESET */      
                    	>;
        		};
        };
};


&lcdif {
	pinctrl-names = "default";
	pinctrl-0 = <&pinctrl_lcdif_dat
		     &pinctrl_lcdif_ctrl>;

	display = <&display0>;
	status = "okay";

	/* 7寸1024*600 */
	display0: display {
		bits-per-pixel = <24>;
		bus-width = <24>;

		display-timings {
			native-mode = <&timing0>;
			timing0: timing0 {
			clock-frequency = <51200000>;
			hactive = <1024>;
			vactive = <600>;
			hfront-porch = <160>;
			hback-porch = <140>;
			hsync-len = <20>;
			vback-porch = <20>;
			vfront-porch = <12>;
			vsync-len = <3>;

			hsync-active = <0>;
			vsync-active = <0>;
			de-active = <1>;
			pixelclk-active = <0>;
			};
		};
	};

	/* 4.3寸480*272 */
	/* display0: display {
		bits-per-pixel = <24>;
		bus-width = <24>;

		display-timings {
			native-mode = <&timing0>;
			timing0: timing0 {
			clock-frequency = <9000000>;
			hactive = <480>;
			vactive = <272>;
			hfront-porch = <5>;
			hback-porch = <40>;
			hsync-len = <1>;
			vback-porch = <8>;
			vfront-porch = <8>;
			vsync-len = <1>;

			hsync-active = <0>;
			vsync-active = <0>;
			de-active = <1>;
			pixelclk-active = <0>;
			};
		};
	};*/

	/* 4.3寸800*480 */
	/* display0: display {
		bits-per-pixel = <24>;
		bus-width = <24>;

		display-timings {
			native-mode = <&timing0>;
			timing0: timing0 {
			clock-frequency = <31000000>;
			hactive = <800>;
			vactive = <480>;
			hfront-porch = <40>;
			hback-porch = <88>;
			hsync-len = <48>;
			vback-porch = <32>;
			vfront-porch = <13>;
			vsync-len = <3>;

			hsync-active = <0>;
			vsync-active = <0>;
			de-active = <1>;
			pixelclk-active = <0>;
			};
		};
	};*/

};

&pwm1 {
	pinctrl-names = "default";
	pinctrl-0 = <&pinctrl_pwm1>;
	status = "okay";
};

/* zuozhongkai PWM3 */
&pwm3 {
	pinctrl-names = "default";
	pinctrl-0 = <&pinctrl_pwm3>;
	clocks = <&clks IMX6UL_CLK_PWM3>,
			 <&clks IMX6UL_CLK_PWM3>;
	status = "disable";
};

/* zuozhongkai ADC1 */
&adc1 {
	pinctrl-names = "default";
	pinctrl-0 = <&pinctrl_adc1>;
	num-channels = <2>;
	vref-supply = <&reg_vref_adc>;
	status = "okay";
};

&pxp {
	status = "okay";
};

&qspi {
	pinctrl-names = "default";
	pinctrl-0 = <&pinctrl_qspi>;
	status = "okay";
	ddrsmp=<0>;

	flash0: n25q256a@0 {
		#address-cells = <1>;
		#size-cells = <1>;
		compatible = "micron,n25q256a";
		spi-max-frequency = <29000000>;
		spi-nor,ddr-quad-read-dummy = <6>;
		reg = <0>;
	};
};

&sai2 {
	pinctrl-names = "default";
	pinctrl-0 = <&pinctrl_sai2
		     &pinctrl_sai2_hp_det_b>;

	assigned-clocks = <&clks IMX6UL_CLK_SAI2_SEL>,
			  <&clks IMX6UL_CLK_SAI2>;
	assigned-clock-parents = <&clks IMX6UL_CLK_PLL4_AUDIO_DIV>;
	assigned-clock-rates = <0>, <12288000>;

	status = "okay";
};

&tsc {
	pinctrl-names = "default";
	pinctrl-0 = <&pinctrl_tsc>;
	/*xnur-gpio = <&gpio1 3 GPIO_ACTIVE_LOW>;*/
	measure-delay-time = <0xffff>;
	pre-charge-time = <0xfff>;
	status = "disable";
};

&uart1 {
	pinctrl-names = "default";
	pinctrl-0 = <&pinctrl_uart1>;
	status = "okay";
};

/* zuozhongkai */
&uart3 {
	pinctrl-names = "default";
	pinctrl-0 = <&pinctrl_uart3>;
	status = "okay";
};

&usbotg1 {
	dr_mode = "otg";
	srp-disable;
	hnp-disable;
	adp-disable;
	status = "okay";
};

&usbotg2 {
	dr_mode = "host";
	disable-over-current;
	status = "okay";
};

&usbphy1 {
	tx-d-cal = <0x5>;
};

&usbphy2 {
	tx-d-cal = <0x5>;
};

&usdhc1 {
	pinctrl-names = "default", "state_100mhz", "state_200mhz";
	pinctrl-0 = <&pinctrl_usdhc1>;
	pinctrl-1 = <&pinctrl_usdhc1_100mhz>;
	pinctrl-2 = <&pinctrl_usdhc1_200mhz>;
	cd-gpios = <&gpio1 19 GPIO_ACTIVE_LOW>;
	keep-power-in-suspend;
	enable-sdio-wakeup;
	vmmc-supply = <&reg_sd1_vmmc>;
	status = "okay";
	no-1-8-v;
};

&usdhc2 {
	pinctrl-names = "default", "state_100mhz", "state_200mhz";
	pinctrl-0 = <&pinctrl_usdhc2_8bit>;
	pinctrl-1 = <&pinctrl_usdhc2_8bit_100mhz>;
	pinctrl-2 = <&pinctrl_usdhc2_8bit_200mhz>;
	bus-width = <8>;
	non-removable;
	status = "okay";
};

&wdog1 {
	pinctrl-names = "default";
	pinctrl-0 = <&pinctrl_wdog>;
	fsl,wdog_b;
};

/* zuozhongkai  */
&ecspi3 {
	fsl,spi-num-chipselects = <1>;
	cs-gpio = <&gpio1 20 GPIO_ACTIVE_LOW>; /* cant't use cs-gpios! */
	pinctrl-names = "default";
	pinctrl-0 = <&pinctrl_ecspi3>;
	status = "okay";

	spidev: icm20608@0 {
		compatible = "alientek,icm20608";
		spi-max-frequency = <8000000>;
		reg = <0>;
	};	
};
